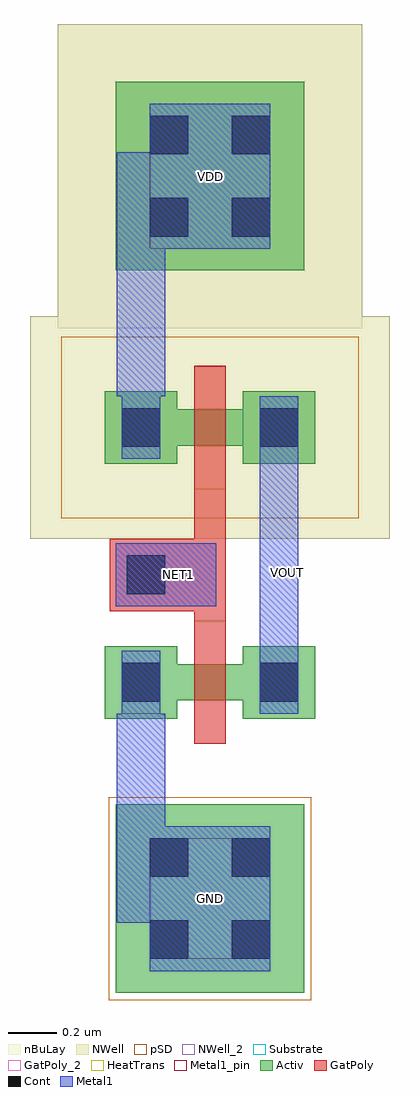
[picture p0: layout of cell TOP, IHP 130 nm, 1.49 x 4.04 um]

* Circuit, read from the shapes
.subckt TOP GND NET1 VDD VOUT
XM1 VOUT NET1 GND GND sg13_lv_nmos w=0.15u l=0.13u
XM2 VOUT NET1 VDD VDD sg13_lv_pmos w=0.15u l=0.13u
.ends

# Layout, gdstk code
import gdstk
lib = gdstk.Library(unit=1e-6, precision=5e-09)
def R(c, l, rs):  # rectangles x0, y0, x1, y1
    for r in rs: c.add(gdstk.rectangle(r[:2], r[2:], *l))
Activ = (1, 0)
GatPoly = (5, 0)
GatPoly_2 = (5, 2)
Cont = (6, 0)
Metal1 = (8, 0)
Metal1_pin = (8, 2)
pSD = (14, 0)
NWell = (31, 0)
NWell_2 = (31, 2)
nBuLay = (32, 0)
Substrate = (40, 0)
HeatTrans = (51, 0)

pmos = lib.new_cell('pmos')
R(pmos, Activ, [(0,0,0.3,0.3), (0.57,0,0.87,0.3), (0,0.075,0.87,0.225)])
R(pmos, GatPoly, [(0.37,-0.105,0.5,0.405), (0.37,-0.105,0.5,0.405)])
R(pmos, Cont, [(0.07,0.07,0.23,0.23), (0.64,0.07,0.8,0.23)])
R(pmos, Metal1, [(0.07,0.02,0.23,0.28), (0.07,0.02,0.23,0.28), (0.64,0.02,0.8,0.28), (0.64,0.02,0.8,0.28)])
R(pmos, pSD, [(-0.18,-0.225,1.05,0.525)])
R(pmos, NWell, [(-0.31,-0.31,1.18,0.61)])
R(pmos, Substrate, [(0.57,0,0.87,0.3)])
R(pmos, HeatTrans, [(0.37,-0.105,0.5,0.405)])
pmos.add(gdstk.Label('pmos', (0.435,0.15), layer=63, texttype=0))
pmos.add(gdstk.Label('pmos', (0.435,0.15), layer=51, texttype=0))

nmos = lib.new_cell('nmos')
R(nmos, Activ, [(0,0,0.3,0.3), (0.57,0,0.87,0.3), (0,0.075,0.87,0.225)])
R(nmos, GatPoly, [(0.37,-0.105,0.5,0.405)])
R(nmos, GatPoly_2, [(0.37,-0.105,0.5,0.405)])
R(nmos, Cont, [(0.07,0.07,0.23,0.23), (0.64,0.07,0.8,0.23)])
R(nmos, Metal1, [(0.07,0.02,0.23,0.28), (0.64,0.02,0.8,0.28)])
R(nmos, Metal1_pin, [(0.07,0.02,0.23,0.28), (0.64,0.02,0.8,0.28)])
R(nmos, HeatTrans, [(0.37,-0.105,0.5,0.405)])
nmos.add(gdstk.Label('nmos', (0.435,0.15), layer=63, texttype=0))
nmos.add(gdstk.Label('nmos', (0.435,0.15), layer=51, texttype=0))

ntap1 = lib.new_cell('ntap1')
R(ntap1, Activ, [(0,0,0.78,0.78)])
R(ntap1, Cont, [(0.14,0.14,0.3,0.3), (0.48,0.14,0.64,0.3), (0.14,0.48,0.3,0.64), (0.48,0.48,0.64,0.64)])
R(ntap1, Metal1, [(0.14,0.09,0.64,0.69)])
R(ntap1, Metal1_pin, [(0.14,0.09,0.64,0.69), (0.14,0.14,0.64,0.64)])
R(ntap1, NWell, [(-0.24,-0.24,1.02,1.02), (0,0,0.78,0.78)])
R(ntap1, NWell_2, [(0,0,0.78,0.78)])
R(ntap1, nBuLay, [(-0.24,-0.24,1.02,1.02)])
ntap1.add(gdstk.Label('well', (0.39,0.01), layer=63, texttype=0))
ntap1.add(gdstk.Label('well', (0.39,0.01), layer=31, texttype=0))

ptap1 = lib.new_cell('ptap1')
R(ptap1, Activ, [(0,0,0.78,0.78)])
R(ptap1, Cont, [(0.14,0.14,0.3,0.3), (0.48,0.14,0.64,0.3), (0.14,0.48,0.3,0.64), (0.48,0.48,0.64,0.64)])
R(ptap1, Metal1, [(0.14,0.09,0.64,0.69), (0.14,0.14,0.64,0.64)])
R(ptap1, Metal1_pin, [(0.14,0.14,0.64,0.64)])
R(ptap1, pSD, [(-0.03,-0.03,0.81,0.81)])
R(ptap1, Substrate, [(0,0,0.78,0.78)])
ptap1.add(gdstk.Label('sub!', (0.39,0.01), layer=63, texttype=0))
ptap1.add(gdstk.Label('sub!', (0.39,0.01), layer=40, texttype=0))

top = lib.new_cell('TOP')
R(top, GatPoly, [(-0.065,0.255,0.065,0.8), (-0.415,0.295,-0.065,0.595)])
R(top, Cont, [(-0.345,0.365,-0.185,0.525)])
R(top, Metal1, [(0.205,-0.13,0.365,1.185), (-0.39,0.315,0.025,0.575)])
R(top, Metal1_pin, [(0.205,-0.13,0.365,1.185), (-0.39,0.315,0.025,0.575)])
top.add(gdstk.FlexPath([(-0.285,1.185),(-0.285,2.095),(0,2.095)], 0.2, ends="flush", simple_path=True, layer=8, datatype=0))  # Metal1
top.add(gdstk.FlexPath([(-0.285,-0.13),(-0.285,-0.895),(0,-0.895)], 0.2, ends="flush", simple_path=True, layer=8, datatype=0))  # Metal1
top.add(gdstk.Reference(pmos, (-0.435,0.905)))
top.add(gdstk.Reference(nmos, (-0.435,-0.15)))
top.add(gdstk.Reference(ntap1, (-0.39,1.705)))
top.add(gdstk.Reference(ptap1, (-0.39,-1.285)))
top.add(gdstk.Label('VDD', (0,2.095), layer=8, texttype=25))
top.add(gdstk.Label('GND', (0,-0.895), layer=8, texttype=25))
top.add(gdstk.Label('NET1', (-0.13,0.445), layer=8, texttype=25))
top.add(gdstk.Label('VOUT', (0.32,0.455), layer=8, texttype=25))

lib.write_gds('TOP.gds')
